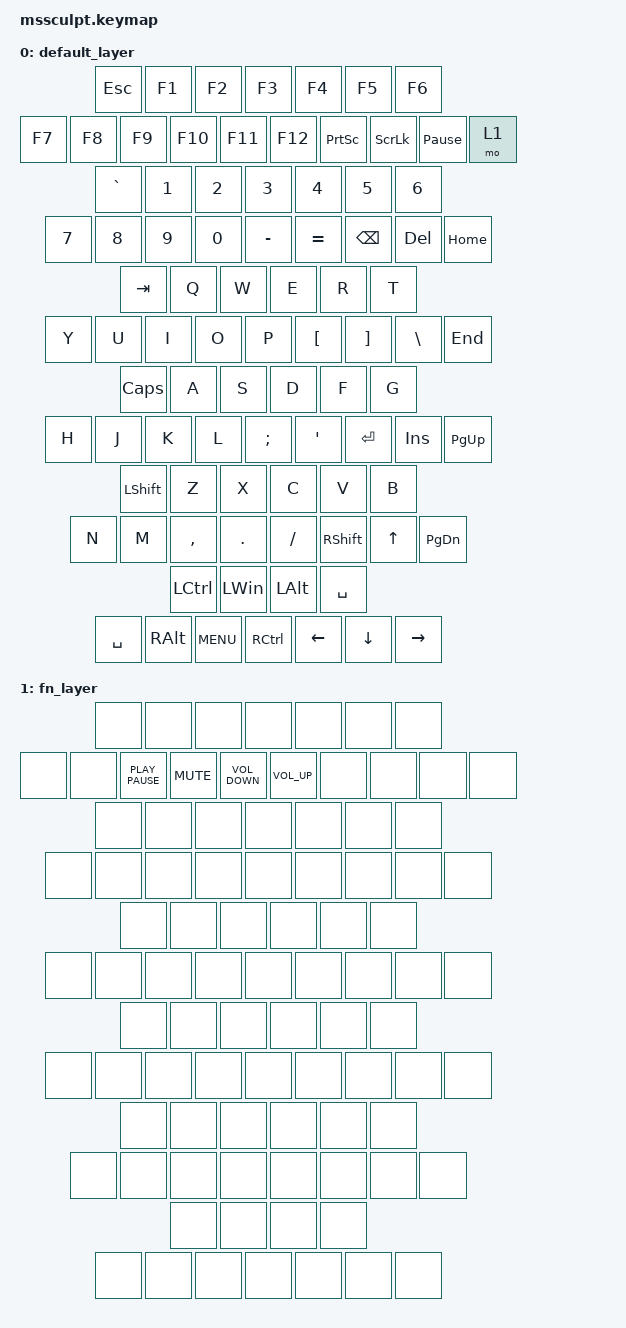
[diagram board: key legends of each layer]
/*
 * Copyright (c) 2020 The ZMK Contributors
 *
 * SPDX-License-Identifier: MIT
 */

#include <behaviors.dtsi>
#include <dt-bindings/zmk/keys.h>
#include <dt-bindings/zmk/bt.h>

/ {
	keymap0: keymap {
		compatible = "zmk,keymap";

		default_layer {
			bindings = <
    &kp ESC &kp F1 &kp F2 &kp F3 &kp F4 &kp F5 &kp F6
    &kp F7 &kp F8 &kp F9 &kp F10 &kp F11 &kp F12 &kp PSCRN &kp SLCK &kp PAUSE_BREAK &mo 1

    &kp GRAVE &kp N1 &kp N2 &kp N3 &kp N4 &kp N5 &kp N6
    &kp N7 &kp N8 &kp N9 &kp N0 &kp MINUS &kp EQUAL &kp BACKSPACE &kp DELETE &kp HOME

    &kp TAB &kp Q &kp W &kp E &kp R &kp T
    &kp Y &kp U &kp I &kp O &kp P &kp LEFT_BRACKET &kp RIGHT_BRACKET &kp BACKSLASH &kp END

    &kp CAPSLOCK &kp A &kp S &kp D &kp F &kp G
    &kp H &kp J &kp K &kp L &kp SEMICOLON &kp SINGLE_QUOTE &kp ENTER &kp INSERT &kp PAGE_UP

    &kp LEFT_SHIFT &kp Z &kp X &kp C &kp V &kp B
    &kp N &kp M &kp COMMA &kp DOT &kp SLASH &kp RIGHT_SHIFT &kp UP &kp PAGE_DOWN

    &kp LEFT_CONTROL &kp LWIN &kp LEFT_ALT &kp SPACE
    &kp SPACE &kp RIGHT_ALT &kp K_MENU &kp RIGHT_CONTROL &kp LEFT &kp DOWN &kp RIGHT
			>;
		};

		fn_layer {
			bindings = <
    &none &none &none &none &none &none &none
    &none &none &kp K_PLAY_PAUSE &kp K_MUTE &kp K_VOLUME_DOWN &kp K_VOLUME_UP &none &none &none &none

    &none &none &none &none &none &none &none
    &none &none &none &none &none &none &none &none &none

    &none &none &none &none &none &none
    &none &none &none &none &none &none &none &none &none

    &none &none &none &none &none &none
    &none &none &none &none &none &none &none &none &none

    &none &none &none &none &none &none
    &none &none &none &none &none &none &none &none

    &none &none &none &none
    &none &none &none &none &none &none &none
			>;
		};
	};
};
